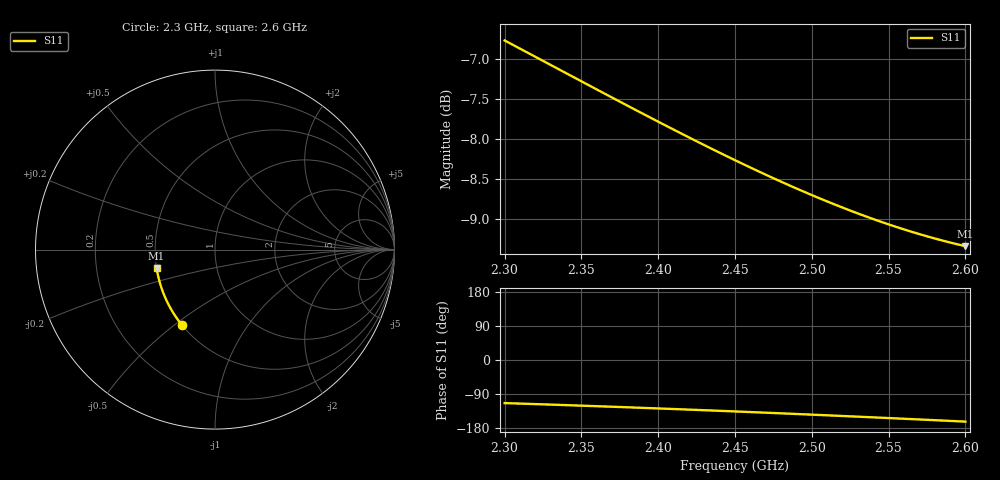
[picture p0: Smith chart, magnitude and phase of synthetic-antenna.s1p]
! SYNTHETIC series RLC: R=25ohm L=5nH C=0.7pF. NOT measured.
# Hz S RI R 50
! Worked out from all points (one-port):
!   61 points, 2.3 GHz to 2.6 GHz, reference 50 ohm
!   lowest |S11| = -9.3 dB at 2.6 GHz (marker M1), VSWR 2.04, Z = 25 - j5.77 ohm
!   |S11| at or under -10 dB: nowhere
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2.3e9  -0.1844 -0.42
2.32e9  -0.1989 -0.4015
2.33e9  -0.2059 -0.392
2.34e9  -0.2127 -0.3824
2.35e9  -0.2194 -0.3727
2.36e9  -0.2259 -0.3629
2.375e9  -0.2354 -0.3479
2.385e9  -0.2415 -0.3377
2.395e9  -0.2473 -0.3275
2.405e9  -0.2531 -0.3172
2.415e9  -0.2586 -0.3067
2.425e9  -0.2639 -0.2962
2.435e9  -0.2691 -0.2856
2.45e9  -0.2764 -0.2695
2.46e9  -0.2811 -0.2586
2.47e9  -0.2856 -0.2477
2.48e9  -0.2899 -0.2368
2.49e9  -0.2939 -0.2258
2.5e9  -0.2978 -0.2147
2.51e9  -0.3015 -0.2035
2.525e9  -0.3066 -0.1868
2.535e9  -0.3098 -0.1755
2.545e9  -0.3128 -0.1643
2.555e9  -0.3155 -0.153
2.565e9  -0.3181 -0.1416
2.575e9  -0.3205 -0.1303
2.585e9  -0.3226 -0.1189
2.6e9  -0.3255 -0.1019
